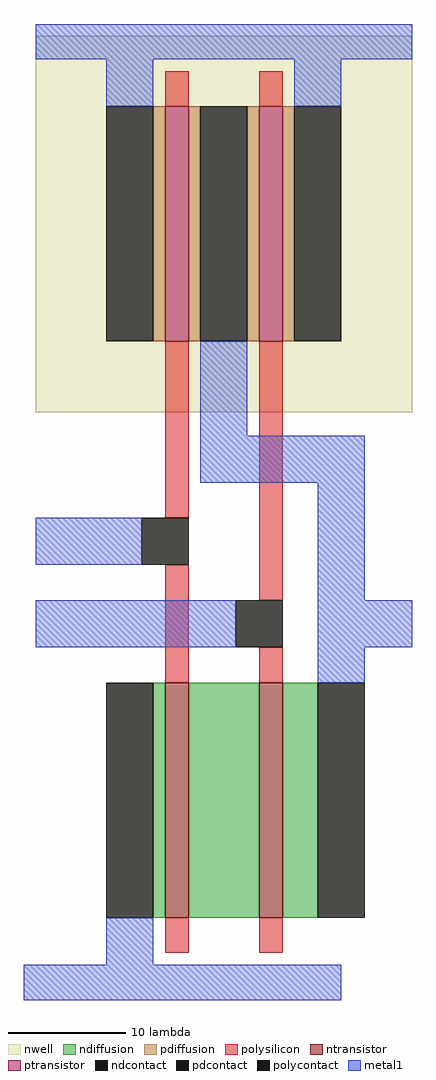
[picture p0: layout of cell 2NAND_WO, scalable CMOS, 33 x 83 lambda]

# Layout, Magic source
magic
tech scmos
<< nwell >>
rect 0 0 32 32
<< ntransistor >>
rect 11 -43 13 -23
rect 19 -43 21 -23
<< ptransistor >>
rect 11 6 13 26
rect 19 6 21 26
<< ndiffusion >>
rect 10 -43 11 -23
rect 13 -43 19 -23
rect 21 -43 24 -23
<< pdiffusion >>
rect 10 6 11 26
rect 13 6 14 26
rect 18 6 19 26
rect 21 6 22 26
<< ndcontact >>
rect 6 -43 10 -23
rect 24 -43 28 -23
<< pdcontact >>
rect 6 6 10 26
rect 14 6 18 26
rect 22 6 26 26
<< polysilicon >>
rect 11 26 13 29
rect 19 26 21 29
rect 11 -9 13 6
rect 11 -23 13 -13
rect 19 -16 21 6
rect 19 -23 21 -20
rect 11 -46 13 -43
rect 19 -46 21 -43
<< polycontact >>
rect 9 -13 13 -9
rect 17 -20 21 -16
<< metal1 >>
rect 0 30 32 33
rect 6 26 10 30
rect 22 26 26 30
rect 14 -2 18 6
rect 14 -6 28 -2
rect 0 -13 9 -9
rect 24 -16 28 -6
rect 0 -20 17 -16
rect 24 -20 32 -16
rect 24 -23 28 -20
rect 6 -47 10 -43
rect -1 -50 26 -47
<< end >>
